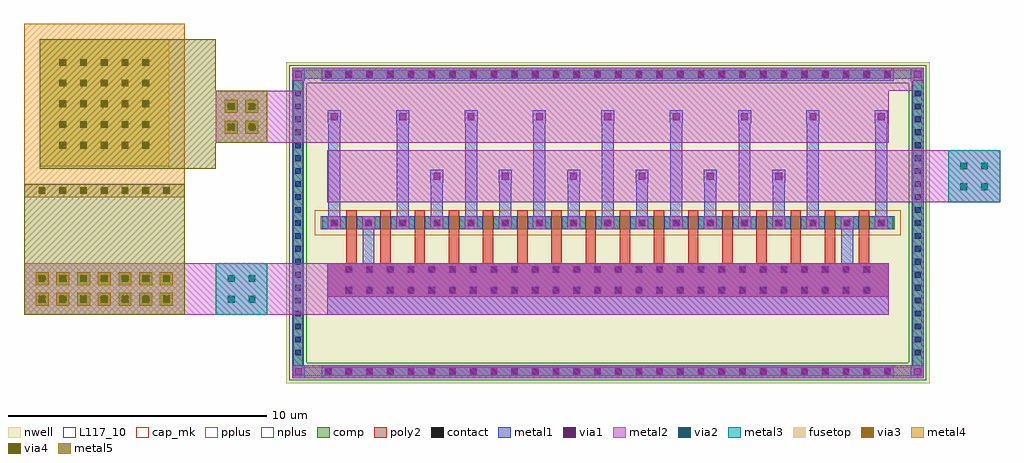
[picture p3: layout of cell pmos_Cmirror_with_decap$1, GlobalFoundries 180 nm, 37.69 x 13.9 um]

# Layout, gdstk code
import gdstk
lib = gdstk.Library(unit=1e-6, precision=5e-09)
def R(c, l, rs):  # rectangles x0, y0, x1, y1
    for r in rs: c.add(gdstk.rectangle(r[:2], r[2:], *l))
def A(c, l, x, y, w, h, nx, ny, dx, dy):  # array of equal rectangles
    R(c, l, [(x+i*dx, y+j*dy, x+i*dx+w, y+j*dy+h) for i in range(nx) for j in range(ny)])
def P(c, l, *ps):  # polygons
    for p in ps: c.add(gdstk.Polygon(p, *l))
nwell = (21, 0)
comp = (22, 0)
poly2 = (30, 0)
pplus = (31, 0)
nplus = (32, 0)
contact = (33, 0)
metal1 = (34, 0)
via1 = (35, 0)
metal2 = (36, 0)
via2 = (38, 0)
via3 = (40, 0)
via4 = (41, 0)
metal3 = (42, 0)
metal4 = (46, 0)
fusetop = (75, 0)
metal5 = (81, 0)
cap_mk = (117, 5)
L117_10 = (117, 10)

cmirror_interdigitized = lib.new_cell('cmirror_interdigitized')
R(cmirror_interdigitized, nwell, [(-12.425,-6.2,12.425,6.2)])
A(cmirror_interdigitized, comp, -10.98, -5.92, 0.36, 0.36, 28, 2, 0.8, 11.48)
A(cmirror_interdigitized, comp, -12.145, -5.18, 0.36, 0.36, 1, 21, 0, 0.5)
A(cmirror_interdigitized, comp, 11.785, -5.18, 0.36, 0.36, 1, 21, 0, 0.5)
R(cmirror_interdigitized, comp, [(-10.98,-5.92,10.98,-5.56), (-12.145,-5.18,-11.785,5.18), (11.785,-5.18,12.145,5.18), (-11.09,-0.25,11.09,0.25), (-10.98,5.56,10.98,5.92)])
P(cmirror_interdigitized, comp, [(-12.145,-5.92),(-12.145,-5.56),(11.785,-5.56),(11.785,5.56),(-11.785,5.56),(-11.785,-5.56),(-12.145,-5.56),(-12.145,5.92),(12.145,5.92),(12.145,-5.92)])
A(cmirror_interdigitized, poly2, -10.18, -2.78, 0.36, 0.36, 26, 2, 0.8, 0.8)
A(cmirror_interdigitized, poly2, -10.1, -1.55, 0.4, 1.06, 16, 1, 1.32, 0)
A(cmirror_interdigitized, poly2, -10.1, -0.49, 0.4, 0.98, 16, 1, 1.32, 0)
R(cmirror_interdigitized, poly2, [(-10.84,-2.85,10.84,-1.55)])
R(cmirror_interdigitized, pplus, [(-11.32,-0.48,11.32,0.48)])
P(cmirror_interdigitized, nplus, [(-12.305,-6.08),(-12.305,-5.4),(11.625,-5.4),(11.625,5.4),(-11.625,5.4),(-11.625,-5.4),(-12.305,-5.4),(-12.305,6.08),(12.305,6.08),(12.305,-6.08)])
A(cmirror_interdigitized, contact, -10.91, -5.85, 0.22, 0.22, 28, 2, 0.8, 11.48)
A(cmirror_interdigitized, contact, -12.075, -5.11, 0.22, 0.22, 1, 21, 0, 0.5)
A(cmirror_interdigitized, contact, 11.855, -5.11, 0.22, 0.22, 1, 21, 0, 0.5)
A(cmirror_interdigitized, contact, -10.11, -2.71, 0.22, 0.22, 26, 2, 0.8, 0.8)
A(cmirror_interdigitized, contact, -10.67, -0.11, 0.22, 0.22, 17, 1, 1.32, 0)
A(cmirror_interdigitized, metal1, -11.05, -5.99, 0.5, 0.5, 28, 2, 0.8, 11.48)
A(cmirror_interdigitized, metal1, -12.195, -5.23, 0.46, 0.46, 1, 21, 0, 0.5)
A(cmirror_interdigitized, metal1, 11.735, -5.23, 0.46, 0.46, 1, 21, 0, 0.5)
A(cmirror_interdigitized, metal1, -10.25, -2.85, 0.5, 0.5, 26, 2, 0.8, 0.8)
A(cmirror_interdigitized, metal1, -11.02, -0.25, 0.92, 0.5, 17, 1, 1.32, 0)
A(cmirror_interdigitized, metal1, -10.79, -0.23, 0.46, 0.46, 17, 1, 1.32, 0)
A(cmirror_interdigitized, metal1, -10.79, 0.25, 0.46, 4.1, 9, 1, 2.64, 0)
A(cmirror_interdigitized, metal1, -6.83, 0.25, 0.46, 1.8, 6, 1, 2.64, 0)
A(cmirror_interdigitized, metal1, -6.85, 1.55, 0.5, 0.5, 6, 1, 2.64, 0)
A(cmirror_interdigitized, metal1, -10.81, 3.85, 0.5, 0.5, 9, 1, 2.64, 0)
R(cmirror_interdigitized, metal1, [(-12.195,-5.99,-11.695,-5.49), (-12.195,-5.99,-11.695,-5.49), (-12.195,-5.99,-11.735,-5.56), (-11.05,-5.99,11.05,-5.49), (11.695,-5.99,12.195,-5.49), (11.695,-5.99,12.195,-5.49), (11.735,-5.99,12.195,-5.56), (-12.195,-5.56,-11.735,5.56), (11.735,-5.56,12.195,5.56), (-10.84,-3.55,10.84,-1.55), (-9.47,-1.55,-9.01,-0.25), (9.01,-1.55,9.47,-0.25), (-10.81,-0.25,-10.31,0.25), (-10.81,-0.25,-10.31,0.25), (-9.49,-0.25,-8.99,0.25), (-9.49,-0.25,-8.99,0.25), (-8.17,-0.25,-7.67,0.25), (-8.17,-0.25,-7.67,0.25), (-6.85,-0.25,-6.35,0.25), (-6.85,-0.25,-6.35,0.25), (-5.53,-0.25,-5.03,0.25), (-5.53,-0.25,-5.03,0.25), (-4.21,-0.25,-3.71,0.25), (-4.21,-0.25,-3.71,0.25), (-2.89,-0.25,-2.39,0.25), (-2.89,-0.25,-2.39,0.25), (-1.57,-0.25,-1.07,0.25), (-1.57,-0.25,-1.07,0.25), (-0.25,-0.25,0.25,0.25), (-0.25,-0.25,0.25,0.25), (1.07,-0.25,1.57,0.25), (1.07,-0.25,1.57,0.25), (2.39,-0.25,2.89,0.25), (2.39,-0.25,2.89,0.25), (3.71,-0.25,4.21,0.25), (3.71,-0.25,4.21,0.25), (5.03,-0.25,5.53,0.25), (5.03,-0.25,5.53,0.25), (6.35,-0.25,6.85,0.25), (6.35,-0.25,6.85,0.25), (7.67,-0.25,8.17,0.25), (7.67,-0.25,8.17,0.25), (8.99,-0.25,9.49,0.25), (8.99,-0.25,9.49,0.25), (10.31,-0.25,10.81,0.25), (10.31,-0.25,10.81,0.25), (-12.195,5.49,-11.695,5.99), (-12.195,5.49,-11.695,5.99), (-11.05,5.49,11.05,5.99), (11.695,5.49,12.195,5.99), (11.695,5.49,12.195,5.99), (-12.195,5.56,-11.735,5.99), (11.735,5.56,12.195,5.99)])
A(cmirror_interdigitized, via1, -10.93, -5.87, 0.26, 0.26, 28, 2, 0.8, 11.48)
A(cmirror_interdigitized, via1, -10.13, -2.73, 0.26, 0.26, 26, 2, 0.8, 0.8)
A(cmirror_interdigitized, via1, -10.69, -0.13, 0.26, 0.26, 17, 1, 1.32, 0)
A(cmirror_interdigitized, via1, -6.73, 1.67, 0.26, 0.26, 6, 1, 2.64, 0)
A(cmirror_interdigitized, via1, -10.69, 3.97, 0.26, 0.26, 9, 1, 2.64, 0)
R(cmirror_interdigitized, via1, [(-12.075,-5.87,-11.815,-5.61), (11.815,-5.87,12.075,-5.61), (-12.075,5.61,-11.815,5.87), (11.815,5.61,12.075,5.87)])
A(cmirror_interdigitized, metal2, -11.05, -5.99, 0.5, 0.5, 28, 2, 0.8, 11.48)
A(cmirror_interdigitized, metal2, -10.25, -2.85, 0.5, 0.5, 26, 2, 0.8, 0.8)
A(cmirror_interdigitized, metal2, -6.85, 1.55, 0.5, 0.5, 6, 1, 2.64, 0)
A(cmirror_interdigitized, metal2, -10.81, 3.85, 0.5, 0.5, 9, 1, 2.64, 0)
R(cmirror_interdigitized, metal2, [(-12.195,-5.99,-11.695,-5.49), (-12.195,-5.99,-11.695,-5.49), (-12.195,-5.99,-11.785,-5.49), (-11.785,-5.99,11.785,-5.49), (11.695,-5.99,12.195,-5.49), (11.695,-5.99,12.195,-5.49), (11.785,-5.99,12.195,-5.49), (-10.84,-3.55,10.84,-1.55), (-10.84,-2.85,10.84,-1.55), (-10.81,-0.25,-10.31,0.25), (-10.81,-0.25,-10.31,0.25), (-9.49,-0.25,-8.99,0.25), (-9.49,-0.25,-8.99,0.25), (-8.17,-0.25,-7.67,0.25), (-8.17,-0.25,-7.67,0.25), (-6.85,-0.25,-6.35,0.25), (-6.85,-0.25,-6.35,0.25), (-5.53,-0.25,-5.03,0.25), (-5.53,-0.25,-5.03,0.25), (-4.21,-0.25,-3.71,0.25), (-4.21,-0.25,-3.71,0.25), (-2.89,-0.25,-2.39,0.25), (-2.89,-0.25,-2.39,0.25), (-1.57,-0.25,-1.07,0.25), (-1.57,-0.25,-1.07,0.25), (-0.25,-0.25,0.25,0.25), (-0.25,-0.25,0.25,0.25), (1.07,-0.25,1.57,0.25), (1.07,-0.25,1.57,0.25), (2.39,-0.25,2.89,0.25), (2.39,-0.25,2.89,0.25), (3.71,-0.25,4.21,0.25), (3.71,-0.25,4.21,0.25), (5.03,-0.25,5.53,0.25), (5.03,-0.25,5.53,0.25), (6.35,-0.25,6.85,0.25), (6.35,-0.25,6.85,0.25), (7.67,-0.25,8.17,0.25), (7.67,-0.25,8.17,0.25), (8.99,-0.25,9.49,0.25), (8.99,-0.25,9.49,0.25), (10.31,-0.25,10.81,0.25), (10.31,-0.25,10.81,0.25), (-10.84,0.8,10.84,2.8), (-10.84,3.1,10.84,5.1), (-11.785,5.1,11.785,5.99), (-12.195,5.49,-11.695,5.99), (-12.195,5.49,-11.695,5.99), (-12.195,5.49,-11.785,5.99), (-11.785,5.49,11.785,5.99), (11.695,5.49,12.195,5.99), (11.695,5.49,12.195,5.99), (11.785,5.49,12.195,5.99)])

via_array_6db7f9fa = lib.new_cell('via_array_6db7f9fa')
R(via_array_6db7f9fa, metal2, [(-1,-1,1,1), (-0.65,-0.65,-0.15,-0.15), (0.15,-0.65,0.65,-0.15), (-0.65,0.15,-0.15,0.65), (0.15,0.15,0.65,0.65)])
R(via_array_6db7f9fa, via2, [(-0.53,-0.53,-0.27,-0.27), (0.27,-0.53,0.53,-0.27), (-0.53,0.27,-0.27,0.53), (0.27,0.27,0.53,0.53)])
R(via_array_6db7f9fa, metal3, [(-1,-1,1,1), (-0.65,-0.65,-0.15,-0.15), (0.15,-0.65,0.65,-0.15), (-0.65,0.15,-0.15,0.65), (0.15,0.15,0.65,0.65)])

via_array_6db7f9fa_1 = lib.new_cell('via_array_6db7f9fa$1')
R(via_array_6db7f9fa_1, metal2, [(-1,-1,1,1), (-0.65,-0.65,-0.15,-0.15), (0.15,-0.65,0.65,-0.15), (-0.65,0.15,-0.15,0.65), (0.15,0.15,0.65,0.65)])
R(via_array_6db7f9fa_1, via2, [(-0.53,-0.53,-0.27,-0.27), (0.27,-0.53,0.53,-0.27), (-0.53,0.27,-0.27,0.53), (0.27,0.27,0.53,0.53)])
R(via_array_6db7f9fa_1, metal3, [(-1,-1,1,1), (-0.65,-0.65,-0.15,-0.15), (0.15,-0.65,0.65,-0.15), (-0.65,0.15,-0.15,0.65), (0.15,0.15,0.65,0.65)])

via_array_2d2eb874 = lib.new_cell('via_array_2d2eb874')
R(via_array_2d2eb874, metal2, [(-1,-1,1,1), (-0.65,-0.65,-0.15,-0.15), (0.15,-0.65,0.65,-0.15), (-0.65,0.15,-0.15,0.65), (0.15,0.15,0.65,0.65)])
R(via_array_2d2eb874, via2, [(-0.53,-0.53,-0.27,-0.27), (0.27,-0.53,0.53,-0.27), (-0.53,0.27,-0.27,0.53), (0.27,0.27,0.53,0.53)])
R(via_array_2d2eb874, via3, [(-0.53,-0.53,-0.27,-0.27), (0.27,-0.53,0.53,-0.27), (-0.53,0.27,-0.27,0.53), (0.27,0.27,0.53,0.53)])
R(via_array_2d2eb874, via4, [(-0.53,-0.53,-0.27,-0.27), (0.27,-0.53,0.53,-0.27), (-0.53,0.27,-0.27,0.53), (0.27,0.27,0.53,0.53)])
R(via_array_2d2eb874, metal3, [(-0.65,-0.65,-0.15,-0.15), (0.15,-0.65,0.65,-0.15), (-0.65,0.15,-0.15,0.65), (0.15,0.15,0.65,0.65)])
R(via_array_2d2eb874, metal4, [(-0.65,-0.65,-0.15,-0.15), (0.15,-0.65,0.65,-0.15), (-0.65,0.15,-0.15,0.65), (0.15,0.15,0.65,0.65)])
R(via_array_2d2eb874, metal5, [(-1,-1,1,1), (-0.65,-0.65,-0.15,-0.15), (0.15,-0.65,0.65,-0.15), (-0.65,0.15,-0.15,0.65), (0.15,0.15,0.65,0.65)])

straight_route_77226b6f = lib.new_cell('straight_route_77226b6f')
R(straight_route_77226b6f, metal2, [(-15.145,-3.55,-10.84,-1.55)])

straight_route_0a0d998a = lib.new_cell('straight_route_0a0d998a')
R(straight_route_0a0d998a, metal2, [(-10.84,0.8,13.145,2.8)])

straight_route_5d3ecb8c = lib.new_cell('straight_route_5d3ecb8c')
R(straight_route_5d3ecb8c, metal2, [(-15.145,3.1,-10.84,5.1)])

unnamed_e27185f7 = lib.new_cell('Unnamed_e27185f7')
A(unnamed_e27185f7, via4, -1.73, -1.73, 0.26, 0.26, 5, 5, 0.8, 0.8)
R(unnamed_e27185f7, metal4, [(-3.1,-3.1,3.1,3.1)])
R(unnamed_e27185f7, fusetop, [(-2.5,-2.5,2.5,2.5)])
A(unnamed_e27185f7, metal5, -1.85, -1.85, 0.5, 0.5, 5, 5, 0.8, 0.8)
R(unnamed_e27185f7, metal5, [(-2.5,-2.5,2.5,2.5)])
R(unnamed_e27185f7, cap_mk, [(-3.1,-3.1,3.1,3.1)])
R(unnamed_e27185f7, L117_10, [(-2.5,-2.5,2.5,-2.4)])

via_array_fa9a2e7a = lib.new_cell('via_array_fa9a2e7a')
A(via_array_fa9a2e7a, via4, -2.53, -0.13, 0.26, 0.26, 7, 1, 0.8, 0)
A(via_array_fa9a2e7a, metal4, -2.65, -0.25, 0.5, 0.5, 7, 1, 0.8, 0)
R(via_array_fa9a2e7a, metal4, [(-3.1,-0.25,3.1,0.25)])
A(via_array_fa9a2e7a, metal5, -2.65, -0.25, 0.5, 0.5, 7, 1, 0.8, 0)
R(via_array_fa9a2e7a, metal5, [(-3.1,-0.25,3.1,0.25)])

straight_route_85603c74 = lib.new_cell('straight_route_85603c74')
R(straight_route_85603c74, metal5, [(-16.945,2.1,-15.145,7.1)])

l_route_821063e1 = lib.new_cell('L_route_821063e1')
A(l_route_821063e1, metal2, -22.095, -3.2, 0.5, 0.5, 7, 2, 0.8, 0.8)
R(l_route_821063e1, metal2, [(-22.545,-3.55,-15.145,-1.55), (-22.095,-3.2,-16.795,-1.9)])
A(l_route_821063e1, via2, -21.975, -3.08, 0.26, 0.26, 7, 2, 0.8, 0.8)
A(l_route_821063e1, via3, -21.975, -3.08, 0.26, 0.26, 7, 2, 0.8, 0.8)
A(l_route_821063e1, via4, -21.975, -3.08, 0.26, 0.26, 7, 2, 0.8, 0.8)
A(l_route_821063e1, metal3, -22.095, -3.2, 0.5, 0.5, 7, 2, 0.8, 0.8)
A(l_route_821063e1, metal4, -22.095, -3.2, 0.5, 0.5, 7, 2, 0.8, 0.8)
A(l_route_821063e1, metal5, -22.095, -3.2, 0.5, 0.5, 7, 2, 0.8, 0.8)
R(l_route_821063e1, metal5, [(-22.545,-3.55,-16.345,-1.55), (-22.545,-3.55,-16.345,1.5)])

pmos_cmirror_with_decap_ = lib.new_cell('pmos_Cmirror_with_decap$1')
pmos_cmirror_with_decap_.add(gdstk.Reference(cmirror_interdigitized, (0,0)))
pmos_cmirror_with_decap_.add(gdstk.Reference(via_array_6db7f9fa, (-14.145,-2.55)))
pmos_cmirror_with_decap_.add(gdstk.Reference(via_array_6db7f9fa_1, (14.145,1.8)))
pmos_cmirror_with_decap_.add(gdstk.Reference(via_array_2d2eb874, (-14.145,4.1)))
pmos_cmirror_with_decap_.add(gdstk.Reference(straight_route_77226b6f, (0,0)))
pmos_cmirror_with_decap_.add(gdstk.Reference(straight_route_0a0d998a, (0,0)))
pmos_cmirror_with_decap_.add(gdstk.Reference(straight_route_5d3ecb8c, (0,0)))
pmos_cmirror_with_decap_.add(gdstk.Reference(unnamed_e27185f7, (-19.445,4.6)))
pmos_cmirror_with_decap_.add(gdstk.Reference(via_array_fa9a2e7a, (-19.445,1.25)))
pmos_cmirror_with_decap_.add(gdstk.Reference(straight_route_85603c74, (0,0)))
pmos_cmirror_with_decap_.add(gdstk.Reference(l_route_821063e1, (0,0)))

lib.write_gds('pmos_Cmirror_with_decap_1.gds')
